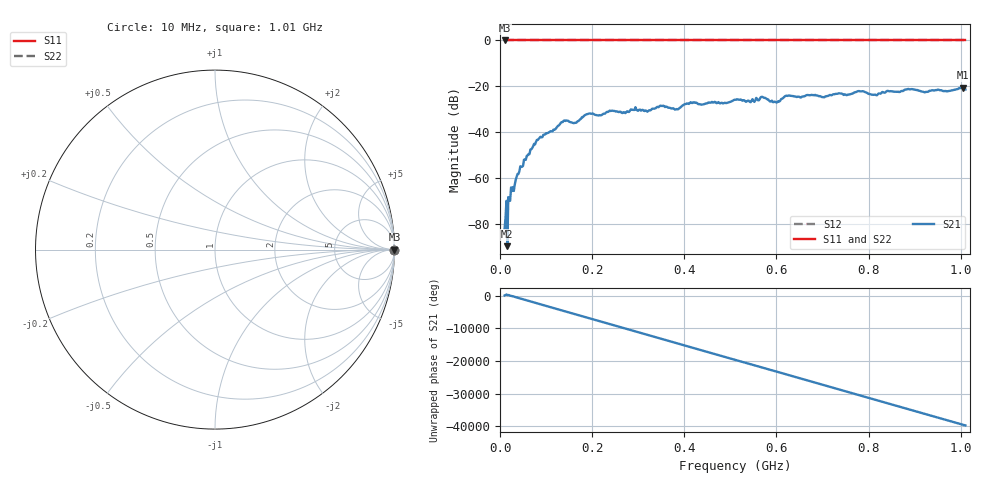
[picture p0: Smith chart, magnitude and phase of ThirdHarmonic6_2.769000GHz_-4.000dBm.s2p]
! 8/17/2025 7:01:54 AM
! C:\ANRITSUVNA\TEMP\TEMP.S2P
! CHANNEL.1
! TR.MEASUREMENT
! RAW.DATA
! RF.CORRECTION.OFF
! AVERAGING.OFF
! IF.BANDWIDTH: 5KHZ
! SWEEPTYPE:  FREQ.SWEEP(Linear)
! Reference Plane Port Info
! PORT:  PORT1  PORT2
! DISTANCE:  0  m  0  m
! TIME:  0  s  0  s
! PHASE.OFFSET:  0  deg.  0  deg.
! LOSS:  0  dB  0  dB
! REF.LOSS:  0  dB  0  dB
! REF.FREQ:  0  Hz  0  Hz
! Power Info
! POWER:  -20  dBm  -20  dBm
! EFF.POWER:  -20  dBm  -20  dBm
! SOURCE.ATTEN:  0  dB  0  dB
! TEST.ATTEN:  0  dB  0  dB
# GHZ S RI R 50.0
! FREQ.GHZ  S11RE  S11IM  S21RE  S21IM  S12RE  S12IM  S22RE  S22IM
!; PortSelection: Port_12
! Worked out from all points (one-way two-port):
!   501 points, 10 MHz to 1.01 GHz, reference 50 ohm
!   highest |S21| = -20.65 dB at 1.004 GHz (marker M1); lowest = -89.8 dB at 16 MHz (marker M2)
!   lowest |S11| = 0.0 dB at 10 MHz (marker M3)
!   |S11| at or under -10 dB: nowhere
!   |S22| runs from 0.0 to 0.0 dB; largest |S21 - S12| = 1.1
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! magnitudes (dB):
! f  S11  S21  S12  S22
! 10 MHz  0.0  -82.1  0.0  0.0
! 12 MHz  0.0  -77.5  0.0  0.0
! 16 MHz  0.0  -89.8  0.0  0.0
! 22 MHz  0.0  -70.0  0.0  0.0
! 40 MHz  0.0  -58.3  0.0  0.0
! 82 MHz  0.0  -43.4  0.0  0.0
! 136 MHz  0.0  -35.6  0.0  0.0
! 162 MHz  0.0  -36.0  0.0  0.0
! 178 MHz  0.0  -33.4  0.0  0.0
! 344 MHz  0.0  -29.1  0.0  0.0
! 384 MHz  0.0  -29.9  0.0  0.0
! 416 MHz  0.0  -27.3  0.0  0.0
! 510 MHz  0.0  -25.8  0.0  0.0
! 570 MHz  0.0  -24.7  0.0  0.0
! 598 MHz  0.0  -26.8  0.0  0.0
! 624 MHz  0.0  -24.2  0.0  0.0
! 678 MHz  0.0  -23.8  0.0  0.0
! 782 MHz  0.0  -22.2  0.0  0.0
! 814 MHz  0.0  -23.6  0.0  0.0
! 844 MHz  0.0  -22.1  0.0  0.0
! 1.004 GHz  0.0  -20.7  0.0  0.0
! 1.01 GHz  0.0  -21.4  0.0  0.0
